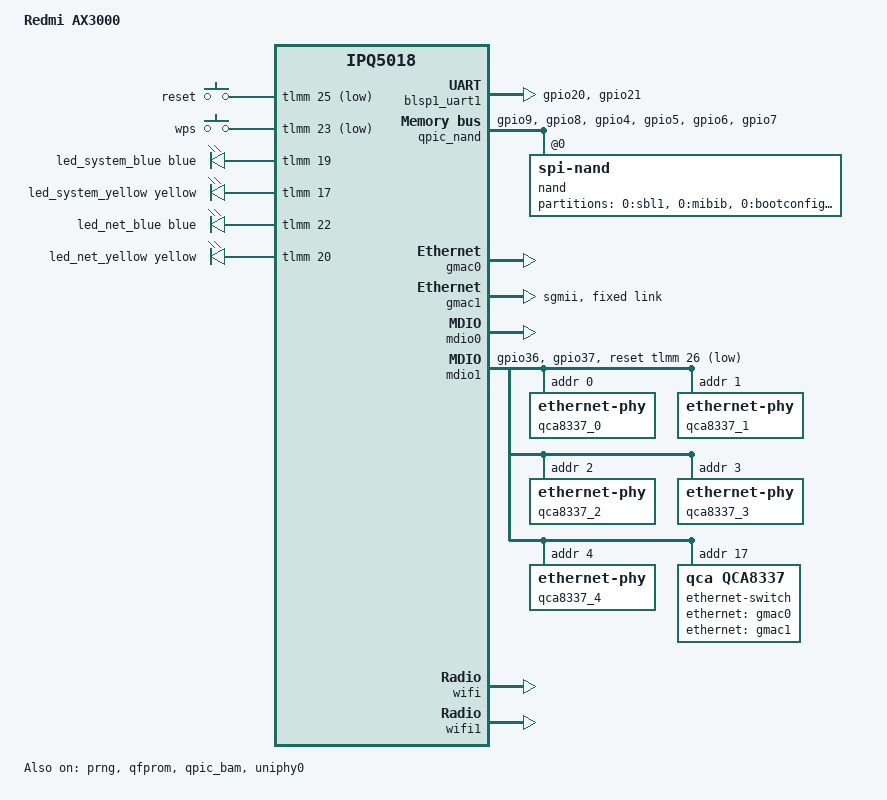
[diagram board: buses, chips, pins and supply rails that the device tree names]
// SPDX-License-Identifier: GPL-2.0-or-later
/*
 * Redmi AX3000 (RA81) - IPQ5018 + QCA8337 + QCN6102
 *
 * Ported from hzyitc/openwrt-redmi-ax3000 to the mainline qualcommax layout:
 *   - ethernet: stmmac (gmac0/gmac1) + DSA qca8337, instead of qca-nss-dp
 *   - wifi:     ath11k ahb multipd (wifi + wifi1), instead of QSDK nss-dp tree
 *
 * Hardware:
 *   SoC      IPQ5018 (IPQ5000), dual core A53
 *   2.4G     IPQ5018 built-in (AHB), 2x2
 *   5G       QCN6102, runs as a WCSS userpd (multipd), 2x2 160MHz
 *   switch   QCA8337: port1-3 = LAN1-3, port4 = WAN,
 *                     port5 = IPQ5018 GE PHY, port6 = SGMII CPU port
 *   NAND     128 MiB, dual rootfs (A/B) layout inherited from stock
 */

/dts-v1/;

#include "ipq5018.dtsi"
#include "ipq5018-ess.dtsi"
#include "ipq5018-qcn6122.dtsi"

#include <dt-bindings/gpio/gpio.h>
#include <dt-bindings/input/input.h>
#include <dt-bindings/leds/common.h>

/ {
	model = "Redmi AX3000";
	compatible = "redmi,ax3000", "qcom,ipq5018";

	#address-cells = <2>;
	#size-cells = <2>;
	interrupt-parent = <&intc>;

	aliases {
		label-mac-device = &gmac0;
		led-boot = &led_system_blue;
		led-failsafe = &led_system_yellow;
		led-running = &led_system_blue;
		led-upgrade = &led_system_yellow;
		serial0 = &blsp1_uart1;
	};

	chosen {
		/*
		 * Do NOT pin ubi.mtd here. The stock bootloader passes
		 * "ubi.mtd=rootfs" or "ubi.mtd=rootfs_1" depending on the boot
		 * slot flag, and that is the only thing that makes the A/B
		 * layout work: the installer flashes the *other* slot, then
		 * flips the flag. Appending our own ubi.mtd= would attach the
		 * wrong (or both) UBI devices and boot the old system.
		 *
		 * root=/dev/ubiblock0_1 is slot-independent: it refers to UBI
		 * device 0, volume 1 (KERNEL_IN_UBI), whichever mtd it came from.
		 */
		bootargs-append = " root=/dev/ubiblock0_1 coherent_pool=2M";
		stdout-path = "serial0:115200n8";
	};

	keys {
		compatible = "gpio-keys";

		pinctrl-0 = <&button_pins>;
		pinctrl-names = "default";

		reset-button {
			label = "reset";
			gpios = <&tlmm 25 GPIO_ACTIVE_LOW>;
			linux,code = <KEY_RESTART>;
		};

		wps-button {
			label = "wps";
			gpios = <&tlmm 23 GPIO_ACTIVE_LOW>;
			linux,code = <KEY_WPS_BUTTON>;
		};
	};

	leds {
		compatible = "gpio-leds";

		pinctrl-0 = <&leds_pins>;
		pinctrl-names = "default";

		led_system_blue: system-blue {
			color = <LED_COLOR_ID_BLUE>;
			function = LED_FUNCTION_POWER;
			gpios = <&tlmm 19 GPIO_ACTIVE_HIGH>;
			default-state = "on";
		};

		led_system_yellow: system-yellow {
			color = <LED_COLOR_ID_YELLOW>;
			function = LED_FUNCTION_POWER;
			gpios = <&tlmm 17 GPIO_ACTIVE_HIGH>;
		};

		led_net_blue: net-blue {
			color = <LED_COLOR_ID_BLUE>;
			function = LED_FUNCTION_WAN;
			gpios = <&tlmm 22 GPIO_ACTIVE_HIGH>;
		};

		led_net_yellow: net-yellow {
			color = <LED_COLOR_ID_YELLOW>;
			function = LED_FUNCTION_WAN;
			gpios = <&tlmm 20 GPIO_ACTIVE_HIGH>;
		};
	};

	reserved-memory {
		#address-cells = <2>;
		#size-cells = <2>;
		ranges;

		/* ath11k + QCN6102 userpd needs a fixed pool, see stock layout */
		q6_mem_regions: q6_mem_regions@4b000000 {
			no-map;
			reg = <0x0 0x4b000000 0x0 0x3000000>;
		};
	};
};

&sleep_clk {
	clock-frequency = <32000>;
};

&xo_board_clk {
	clock-div = <4>;
	clock-mult = <1>;
};

&blsp1_uart1 {
	status = "okay";

	pinctrl-0 = <&serial_0_pins>;
	pinctrl-names = "default";
};

&prng {
	status = "okay";
};

&qfprom {
	status = "okay";
};

&qpic_bam {
	status = "okay";
};

&qpic_nand {
	pinctrl-0 = <&qpic_pins>;
	pinctrl-names = "default";
	status = "okay";

	nand@0 {
		compatible = "spi-nand";
		reg = <0>;

		nand-ecc-engine = <&qpic_nand>;
		nand-ecc-step-size = <512>;
		nand-ecc-strength = <8>;
		nand-bus-width = <8>;

		partitions {
			compatible = "fixed-partitions";
			#address-cells = <1>;
			#size-cells = <1>;

			partition@0 {
				label = "0:sbl1";
				reg = <0x00000000 0x00080000>;
				read-only;
			};

			partition@80000 {
				label = "0:mibib";
				reg = <0x00080000 0x00080000>;
				read-only;
			};

			partition@100000 {
				label = "0:bootconfig";
				reg = <0x00100000 0x00040000>;
				read-only;
			};

			partition@140000 {
				label = "0:bootconfig1";
				reg = <0x00140000 0x00040000>;
				read-only;
			};

			partition@180000 {
				label = "0:qsee";
				reg = <0x00180000 0x00100000>;
				read-only;
			};

			partition@280000 {
				label = "0:qsee_1";
				reg = <0x00280000 0x00100000>;
				read-only;
			};

			partition@380000 {
				label = "0:devcfg";
				reg = <0x00380000 0x00040000>;
				read-only;
			};

			partition@3c0000 {
				label = "0:devcfg_1";
				reg = <0x003c0000 0x00040000>;
				read-only;
			};

			partition@400000 {
				label = "0:cdt";
				reg = <0x00400000 0x00040000>;
				read-only;
			};

			partition@440000 {
				label = "0:cdt_1";
				reg = <0x00440000 0x00040000>;
				read-only;
			};

			partition@480000 {
				label = "0:appsblenv";
				reg = <0x00480000 0x00080000>;
			};

			partition@500000 {
				label = "0:appsbl";
				reg = <0x00500000 0x00140000>;
				read-only;
			};

			partition@640000 {
				label = "0:appsbl_1";
				reg = <0x00640000 0x00140000>;
				read-only;
			};

			partition@780000 {
				label = "0:art";
				reg = <0x00780000 0x00100000>;
				read-only;

				nvmem-layout {
					compatible = "fixed-layout";
					#address-cells = <1>;
					#size-cells = <1>;

					mac_addr_gmac1: macaddr@0 {
						reg = <0x0 0x6>;
					};

					mac_addr_gmac0: macaddr@6 {
						reg = <0x6 0x6>;
					};
				};
			};

			partition@880000 {
				label = "0:training";
				reg = <0x00880000 0x00080000>;
				read-only;
			};

			partition@900000 {
				label = "bdata";
				reg = <0x00900000 0x00080000>;
			};

			partition@980000 {
				label = "crash";
				reg = <0x00980000 0x00080000>;
			};

			partition@a00000 {
				label = "crash_syslog";
				reg = <0x00a00000 0x00080000>;
			};

			/*
			 * Slot A. Matches stock "rootfs" (mtd18), 36 MiB.
			 * UBI volume 0 = kernel, volume 1 = rootfs.
			 */
			partition@a80000 {
				label = "rootfs";
				reg = <0x00a80000 0x02400000>;
			};

			/*
			 * Slot B. Must stay writable: installing from the stock
			 * firmware means the vendor system is running from slot A,
			 * so the only safe target is this one (ubiformat rootfs_1).
			 * Marking it read-only makes ubiformat fail with EROFS.
			 */
			partition@2e80000 {
				label = "rootfs_1";
				reg = <0x02e80000 0x02400000>;
			};

			partition@5280000 {
				label = "overlay";
				reg = <0x05280000 0x01f00000>;
			};

			partition@7180000 {
				label = "rsvd0";
				reg = <0x07180000 0x00080000>;
				read-only;
			};
		};
	};
};

/*
 * =================================================================
 *     _______________________             _______________________
 *    |        IPQ5018        |           |        QCA8337        |
 *    | +------+   +--------+ |           | +--------+   +------+ |
 *    | | MAC0 |---| GE Phy |-+--- MDI ---+ | Phy4   |---| MAC5 | |
 *    | +------+   +--------+ |           | +--------+   +------+ |
 *    | +------+   +--------+ |           | +--------+   +------+ |
 *    | | MAC1 |---| Uniphy |-+-- SGMII---+ | SerDes |---| MAC6 | |
 *    | +------+   +--------+ |           | +--------+   +------+ |
 *    |_______________________|           |_______________________|
 *
 * =================================================================
 */

&uniphy0 {
	status = "okay";

	assigned-clocks = <&uniphy0 UNIPHY_CLK_REF>;
	assigned-clock-rates = <UNIPHY_REFCLK_25MHZ>;
};

// MAC0 -> GE Phy -> QCA8337 Phy4
&gmac0 {
	status = "okay";

	nvmem-cells = <&mac_addr_gmac0 0>;
	nvmem-cell-names = "mac-address";
};

// MAC1 ---SGMII---> QCA8337 MAC6 (CPU port)
&gmac1 {
	status = "okay";

	phy-mode = "sgmii";

	nvmem-cells = <&mac_addr_gmac1 0>;
	nvmem-cell-names = "mac-address";

	fixed-link {
		speed = <1000>;
		full-duplex;
	};
};

&mdio0 {
	status = "okay";
};

&mdio1 {
	status = "okay";

	pinctrl-0 = <&mdio1_pins>;
	pinctrl-names = "default";
	reset-gpios = <&tlmm 26 GPIO_ACTIVE_LOW>;

	// QCA8337 Phy0 -> LAN1
	qca8337_0: ethernet-phy@0 {
		reg = <0>;
	};

	// QCA8337 Phy1 -> LAN2
	qca8337_1: ethernet-phy@1 {
		reg = <1>;
	};

	// QCA8337 Phy2 -> LAN3
	qca8337_2: ethernet-phy@2 {
		reg = <2>;
	};

	// QCA8337 Phy3 -> WAN
	qca8337_3: ethernet-phy@3 {
		reg = <3>;
	};

	// QCA8337 Phy4 -> IPQ5018 GE Phy
	qca8337_4: ethernet-phy@4 {
		reg = <4>;
	};

	ethernet-switch@11 {
		compatible = "qca,qca8337";
		reg = <0x11>;

		ethernet-ports {
			#address-cells = <1>;
			#size-cells = <0>;

			ethernet-port@1 {
				reg = <1>;
				label = "lan1";
				phy-handle = <&qca8337_0>;
			};

			ethernet-port@2 {
				reg = <2>;
				label = "lan2";
				phy-handle = <&qca8337_1>;
			};

			ethernet-port@3 {
				reg = <3>;
				label = "lan3";
				phy-handle = <&qca8337_2>;
			};

			ethernet-port@4 {
				reg = <4>;
				label = "wan";
				phy-handle = <&qca8337_3>;

				nvmem-cells = <&mac_addr_gmac0 0>;
				nvmem-cell-names = "mac-address";
			};

			ethernet-port@5 {
				reg = <5>;
				phy-handle = <&qca8337_4>;
				phy-mode = "gmii";
				ethernet = <&gmac0>;
			};

			ethernet-port@6 {
				reg = <6>;
				phy-mode = "sgmii";
				ethernet = <&gmac1>;
				qca,sgmii-enable-pll;

				fixed-link {
					speed = <1000>;
					full-duplex;
				};
			};
		};
	};
};

&tlmm {
	button_pins: button-state {
		pins = "gpio23", "gpio25";
		function = "gpio";
		drive-strength = <8>;
		bias-pull-up;
	};

	leds_pins: leds-state {
		pins = "gpio17", "gpio19", "gpio20", "gpio22";
		function = "gpio";
		drive-strength = <8>;
		bias-pull-down;
	};

	mdio1_pins: mdio-state {
		mdc-pins {
			pins = "gpio36";
			function = "mdc";
			drive-strength = <8>;
			bias-pull-up;
		};

		mdio-pins {
			pins = "gpio37";
			function = "mdio";
			drive-strength = <8>;
			bias-pull-up;
		};
	};

	qpic_pins: qpic-state {
		clock-pins {
			pins = "gpio9";
			function = "qspi_clk";
			drive-strength = <8>;
			bias-disable;
		};

		cs-pins {
			pins = "gpio8";
			function = "qspi_cs";
			drive-strength = <8>;
			bias-disable;
		};

		data-pins {
			pins = "gpio4", "gpio5", "gpio6", "gpio7";
			function = "qspi_data";
			drive-strength = <8>;
			bias-disable;
		};
	};

	serial_0_pins: uart0-state {
		pins = "gpio20", "gpio21";
		function = "blsp0_uart0";
		bias-disable;
	};
};

&q6v5_wcss {
	firmware-name = "ath11k/IPQ5018/hw1.0/q6_fw.mdt",
			"ath11k/IPQ5018/hw1.0/m3_fw.mdt",
			"ath11k/QCN6122/hw1.0/m3_fw.mdt";
};

/*
 * 2.4GHz: IPQ5018 built-in radio, runs on WCSS pd-1.
 *
 * board_id is NOT set from DT: mainline ath11k reads it from the QMI
 * CALIB data in "0:art", which every RA81 carries pre-calibrated (M81 = 0x24).
 * The BDF shipped in ipq-wifi-redmi_ax3000 covers both 0x10 (M79/CR880x)
 * and 0x24 (M81/RA81), so a CR880x can use the same image unmodified.
 */
&wifi {
	status = "okay";

	qcom,rproc = <&q6_wcss_pd1>;
	qcom,userpd-subsys-name = "q6v5_wcss_userpd1";
	qcom,ath11k-fw-memory-mode = <2>;
	qcom,bdf-addr = <0x4c400000>;
};

/*
 * 5GHz: QCN6102, driven through the WCSS pd-2 userpd (multipd).
 * Same firmware family as QCN6122, hence the QCN6122 m3 image path.
 * board_id 0x60 is what the QCN6102 silicon reports.
 */
&wifi1 {
	status = "okay";

	qcom,rproc = <&q6_wcss_pd2>;
	qcom,userpd-subsys-name = "q6v5_wcss_userpd2";
	qcom,board_id = <0x60>;
	qcom,ath11k-fw-memory-mode = <2>;
	qcom,bdf-addr = <0x4d100000>;
	qcom,m3-dump-addr = <0x4df00000>;
};
